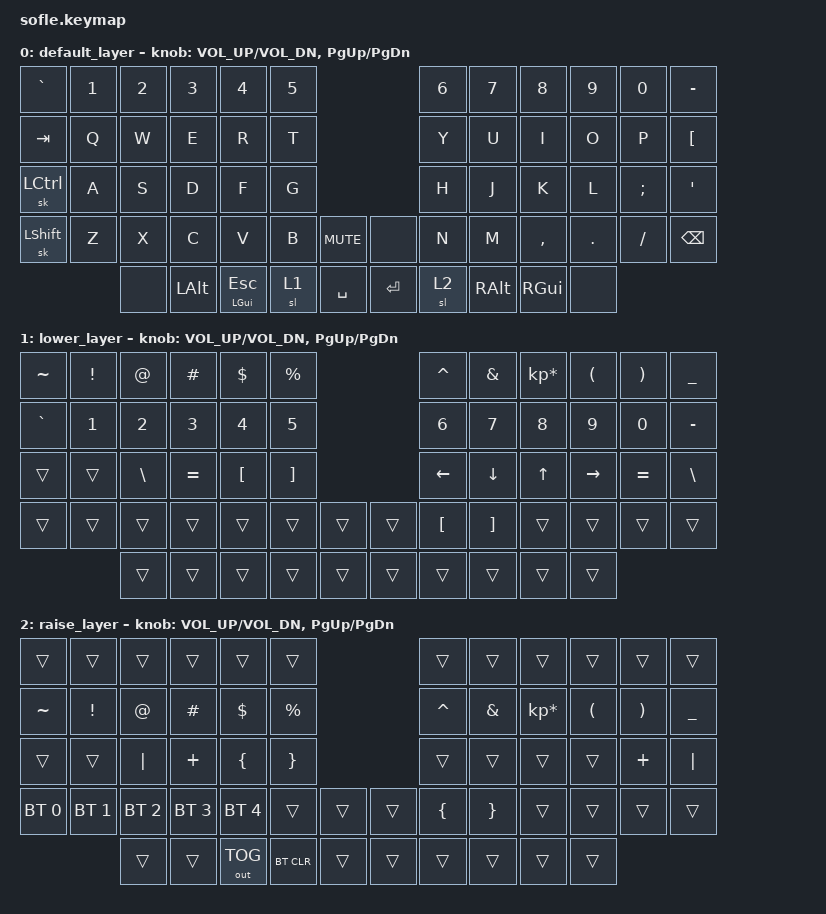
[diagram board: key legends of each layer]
/*
 * Copyright (c) 2020 The ZMK Contributors
 *
 * SPDX-License-Identifier: MIT
 */

#include <behaviors.dtsi>
#include <dt-bindings/zmk/keys.h>
#include <dt-bindings/zmk/bt.h>
#include <dt-bindings/zmk/outputs.h>

&mt {
    tapping-term-ms = <100>;
};

&sk {
    release-after-ms = <250>;
    // quick-release;
};

&sl {
    release-after-ms = <250>;
};



/ {
    keymap {
        compatible = "zmk,keymap";

		default_layer {
// ------------------------------------------------------------------------------------------------------------
// |  `    |  1  |  2  |  3   |  4   |  5   |                   |  6   |  7    |  8    |  9   |   0   |   -   |
// |  TAB  |  Q  |  W  |  E   |  R   |  T   |                   |  Y   |  U    |  I    |  O   |   P   |   [   |
// |  CTRL |  A  |  S  |  D   |  F   |  G   |                   |  H   |  J    |  K    |  L   |   ;   |   '   |
// | SHIFT |  Z  |  X  |  C   |  V   |  B   |  MUTE  |  |       |  N   |  M    |  ,    |  .   |   /   | BKSP  |
//                     | ALT  | GUI  | LWR  |  SPACE |  | ENTER | RSE  | ALT   | GUI   |
			bindings = <
&kp GRAVE &kp N1 &kp N2 &kp N3   &kp N4       &kp N5                     &kp N6 &kp N7   &kp N8    &kp N9  &kp N0   &kp MINUS
&kp TAB   &kp Q  &kp W  &kp E    &kp R        &kp T                      &kp Y  &kp U    &kp I     &kp O   &kp P    &kp LBKT
&sk LCTRL &kp A  &kp S  &kp D    &kp F        &kp G                      &kp H  &kp J    &kp K     &kp L   &kp SEMI &kp SQT
&sk LSHFT &kp Z  &kp X  &kp C    &kp V        &kp B  &kp C_MUTE  &none   &kp N  &kp M    &kp COMMA &kp DOT &kp FSLH &kp BSPC
                 &none  &kp LALT &mt LGUI ESC &sl 1  &kp SPACE   &kp RET &sl 2  &kp RALT &kp RGUI  &none
			>;
			sensor-bindings = <&inc_dec_kp C_VOL_UP C_VOL_DN &inc_dec_kp PG_UP PG_DN>;
		};

		lower_layer {
// ------------------------------------------------------------------------------------------------------------
// |   ~   |  !  |  @  |  #   |  $   |  %   |                   |  ^   |  &    |  *    |  (   |   )   |   _   |
// |  `    |  1  |  2  |  3   |  4   |  5   |                   |  6   |  7    |  8    |  9   |   0   |   -   |
// |       |     |  \  |  =   |  [   |  ]   |                   | LEFT |  UP   | DOWN  | RIGHT|   =   |  "\"  |
// |       |     |     |      |      |      |        |  |       |  "[" | "]"   |       |      |       |       |
//                     |      |      |      |        |  |       |      |       |       |
			bindings = <
&kp TILDE  &kp EXCL  &kp AT   &kp HASH  &kp DOLLAR  &kp PRCNT                    &kp CARET &kp AMPS  &kp KP_MULTIPLY &kp LPAR  &kp RPAR  &kp UNDER
&kp GRAVE  &kp N1    &kp N2   &kp N3    &kp N4      &kp N5                       &kp N6    &kp N7    &kp N8          &kp N9    &kp N0    &kp MINUS
&trans     &trans    &kp BSLH &kp EQUAL &kp LBKT    &kp RBKT                     &kp LEFT  &kp DOWN  &kp UP          &kp RIGHT &kp EQUAL &kp BSLH
&trans     &trans    &trans   &trans    &trans      &trans    &trans   &trans    &kp LBKT  &kp RBKT  &trans          &trans    &trans    &trans
                     &trans   &trans    &trans      &trans    &trans   &trans    &trans    &trans    &trans          &trans
			>;
			sensor-bindings = <&inc_dec_kp C_VOL_UP C_VOL_DN &inc_dec_kp PG_UP PG_DN>;
		};

		raise_layer {
// ------------------------------------------------------------------------------------------------------------
// |       |     |     |      |      |      |                   |      |       |       |      |       |       |
// |   ~   |  !  |  @  |  #   |  $   |  %   |                   |  ^   |  &    |  *    |  (   |   )   |   _   |
// |       |     |  |  |  +   |  {   |  }   |                   |      |       |       |      |   +   |  "|"  |
// |       |     |     |      |      |      |        |  |       |  "{" | "}"   |       |      |       |       |
//                     |      |      |      |        |  |       |      |       |       |
			bindings = <
&trans        &trans        &trans        &trans        &trans        &trans                       &trans    &trans    &trans          &trans    &trans    &trans
&kp TILDE     &kp EXCL      &kp AT        &kp HASH      &kp DLLR      &kp PRCNT                    &kp CARET &kp AMPS  &kp KP_MULTIPLY &kp LPAR  &kp RPAR  &kp UNDER
&trans        &trans        &kp PIPE      &kp PLUS      &kp LBRC      &kp RBRC                     &trans    &trans    &trans          &trans    &kp PLUS  &kp PIPE
&bt BT_SEL 0  &bt BT_SEL 1  &bt BT_SEL 2  &bt BT_SEL 3  &bt BT_SEL 4  &trans     &trans   &trans   &kp LBRC  &kp RBRC  &trans          &trans    &trans    &trans
                            &trans        &trans        &out OUT_TOG  &bt BT_CLR &trans   &trans   &trans    &trans    &trans          &trans
			>;
			sensor-bindings = <&inc_dec_kp C_VOL_UP C_VOL_DN &inc_dec_kp PG_UP PG_DN>;
		};

    };
};
